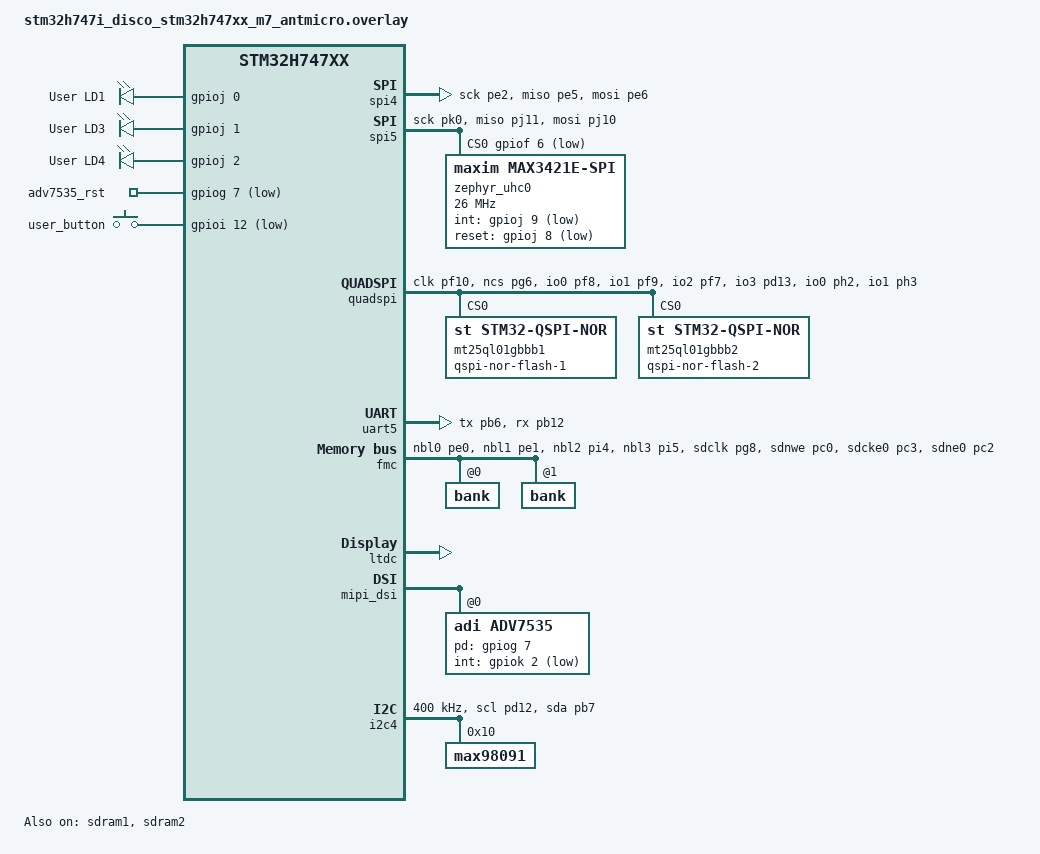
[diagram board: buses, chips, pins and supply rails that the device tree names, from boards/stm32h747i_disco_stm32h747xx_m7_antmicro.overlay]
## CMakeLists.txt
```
# SPDX-License-Identifier: Apache-2.0

cmake_minimum_required(VERSION 3.20.0)

find_package(Zephyr REQUIRED HINTS $ENV{ZEPHYR_BASE})
project(dsi-hdmi-adv7535)

target_sources(app PRIVATE src/main.c)
```

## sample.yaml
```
# TODO: Write this
sample:
  name: I2C custom target sample
tests:
  sample.drivers.i2c.custom_target:
    tags: i2c_target
    platform_allow:
      - lpcxpresso55s69/lpc55s69/cpu0
    harness: TBD
```

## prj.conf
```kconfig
CONFIG_I2C=y
CONFIG_I2C_TARGET=y

CONFIG_ASSERT=y

# CONFIG_SHELL=y
# CONFIG_I2C_SHELL=y

CONFIG_LOG=y
CONFIG_LOG_RUNTIME_DEFAULT_LEVEL=4
CONFIG_LOG_MODE_IMMEDIATE=y
CONFIG_LOG_BACKEND_UART=y

CONFIG_FAULT_DUMP=2

CONFIG_MIPI_DSI=y

CONFIG_ADI_ADV7535=y
CONFIG_NT35510=n

CONFIG_DISPLAY=y
CONFIG_DISPLAY_LOG_LEVEL_DBG=y

# CONFIG_MIPI_DSI_LOG_LEVEL_DBG=y

CONFIG_MEMC=y
CONFIG_STM32_LTDC_RGB888=y
```

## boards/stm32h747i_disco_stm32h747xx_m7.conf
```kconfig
CONFIG_POSIX_API=y
CONFIG_POSIX_DEVICE_IO=y
CONFIG_POSIX_FD_MGMT=y
CONFIG_ZVFS_OPEN_MAX=16
CONFIG_FILE_SYSTEM_EXT2=y
CONFIG_DISK_ACCESS=y
CONFIG_MEMC=y
CONFIG_I2C=y
CONFIG_I2C_STM32=y
CONFIG_GPIO=y
CONFIG_GPIO_STM32=y
CONFIG_SPI=y
# CONFIG_FLASH_STM32_QSPI=y
# CONFIG_FLASH=y
```

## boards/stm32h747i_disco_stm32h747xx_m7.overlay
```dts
#include <zephyr/dt-bindings/display/panel.h>
#include <zephyr/dt-bindings/gpio/gpio.h>
#include <zephyr/dt-bindings/i2c/i2c.h>
#include <zephyr/dt-bindings/memory-attr/memory-attr-arm.h>
#include <zephyr/dt-bindings/mipi_dsi/mipi_dsi.h>

/ {
	chosen {
		zephyr,display = &ltdc;
	};
};

&ltdc {
	status = "okay";
	ext-sdram = <&sdram2>;
	width = <800>;
	height = <480>;
	def-back-color-red = <0>;
	def-back-color-green = <0>;
	def-back-color-blue = <0>;
	/* pixel-format = <PANEL_PIXEL_FORMAT_RGB_565>; */
	pixel-format = <PANEL_PIXEL_FORMAT_RGB_888>;

	/* frida, nt35510 */
	display-timings {
		compatible = "zephyr,panel-timing";
		hsync-active = <0>;
		vsync-active = <0>;
		de-active = <0>;
		pixelclk-active = <0>;
		hsync-len = <2>;
		vsync-len = <120>;
		hback-porch = <34>;
		vback-porch = <150>;
		hfront-porch = <34>;
		vfront-porch = <150>;
	};
};

/* ltdc uses pll3_r as pixel clock */
&pll3 {
	status = "okay";
	clocks = <&clk_hse>;
	div-m = <5>;
	mul-n = <132>;
	div-p = <2>;
	div-q = <2>;
	div-r = <24>; /* 27.5 MHz */
};

&mipi_dsi {
	status = "okay";

	/* DSI HOST dedicated PLL
	 * F_VCO = CLK_IN / pll-idf * 2 * pll-ndiv
	 * PHI = F_VCO / 2 / (1 << pll-odf) = lane_byte_clk
	 *	   = 25 MHz / 5 * 2 * 100 / 2 / (1<<0) / 8 = 62.5 MHz
	 */
	pll-ndiv = <100>;
	pll-idf = <5>;
	pll-odf = <0>;

	vs-active-high;
	hs-active-high;
	de-active-high;

	loosely-packed;
	largest-packet-size = <64>;
	bta-ack-disable;
	test-pattern = <1>;
	nt35510: nt35510@0 {
		status = "okay";
		compatible = "frida,nt35510";
		reg = <0x0>;
		height = <800>;
		width = <480>;
		reset-gpios = <&dsi_lcd_qsh_030 57 GPIO_ACTIVE_HIGH>;
		bl-gpios = <&dsi_lcd_qsh_030 53 GPIO_ACTIVE_HIGH>;
		data-lanes = <2>;
		pixel-format = <MIPI_DSI_PIXFMT_RGB565>;
		rotation = <90>;
	};
};

&i2c4 {
	pinctrl-0 = <&i2c4_scl_pd12 &i2c4_sda_pd13>;
	pinctrl-names = "default";
	clock-frequency = <I2C_BITRATE_FAST>;
	status = "okay";

	adv7535: adv7535@39 {
		reg = <0x39>;
		compatible = "adi,adv7535";
		mipi-dsi = <&mipi_dsi>;
		dsi-channel = <2>;
		data-lanes = <2>;
		pixel-format = <MIPI_DSI_PIXFMT_RGB888>;
		pd-gpios = <&gpiog 3 GPIO_ACTIVE_HIGH>;
		status = "okay";
	};
};
```

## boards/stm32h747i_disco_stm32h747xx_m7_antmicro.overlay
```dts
#include <zephyr/dt-bindings/display/panel.h>
#include <zephyr/dt-bindings/gpio/gpio.h>
#include <zephyr/dt-bindings/i2c/i2c.h>
#include <zephyr/dt-bindings/memory-attr/memory-attr-arm.h>
#include <zephyr/dt-bindings/mipi_dsi/mipi_dsi.h>

/ {
	chosen {
		zephyr,display = &ltdc;
		zephyr,console = &uart5;
		zephyr,shell-uart = &uart5;
		zephyr,flash-controller = &mt25ql01gbbb1;
	};
	aliases {
		led0 = &green_led;
		led1 = &red_led;
		led2 = &blue_led;
		sw0 = &user_button;
	};

	leds {
		compatible = "gpio-leds";

		green_led: led_0 {
			gpios = <&gpioj 0 GPIO_ACTIVE_HIGH>;
			label = "User LD1";
			status = "okay";
		};

		red_led: led_1 {
			gpios = <&gpioj 1 GPIO_ACTIVE_HIGH>;
			label = "User LD3";
			status = "okay";
		};

		blue_led: led_2 {
			gpios = <&gpioj 2 GPIO_ACTIVE_HIGH>;
			label = "User LD4";
			status = "okay";
		};

		//Temp
		adv7535_rst: adv7535_rst {
			gpios = <&gpiog 7 GPIO_ACTIVE_LOW>;
			status = "okay";
		};
	};

	gpio_keys {
		compatible = "gpio-keys";

		user_button: button {
			label = "user_button";
			gpios = <&gpioi 12 (GPIO_ACTIVE_LOW | GPIO_PULL_UP)>;
			status = "okay";
		};
	};

	sdram1: sdram@c0000000 {
		status = "okay";
		compatible = "zephyr,memory-region", "mmio-sram";
		device_type = "memory";
		reg = <0xc0000000 DT_SIZE_M(128)>;
		zephyr,memory-region = "SDRAM1";

		/* Frame buffer memory cache will cause screen flickering. */
		zephyr,memory-attr = <( DT_MEM_ARM(ATTR_MPU_RAM_NOCACHE) )>;
	};
	sdram2: sdram@d0000000 {
		status = "okay";
		compatible = "zephyr,memory-region", "mmio-sram";
		device_type = "memory";
		reg = <0xd0000000 DT_SIZE_M(128)>;
		zephyr,memory-region = "SDRAM2";

		/* Frame buffer memory cache will cause screen flickering. */
		zephyr,memory-attr = <( DT_MEM_ARM(ATTR_MPU_RAM_NOCACHE) )>;
	};
};

&pwr {
	power-supply = "ldo";
};

&pinctrl {
	spi4_sck_pe2: spi4_sck_pe2 {
		pinmux = <STM32_PINMUX('E', 2, AF5)>;
	};

	spi4_miso_pe5: spi4_miso_pe5 {
		pinmux = <STM32_PINMUX('E', 5, AF5)>;
	};

	spi4_mosi_pe6: spi4_mosi_pe6 {
		pinmux = <STM32_PINMUX('E', 6, AF5)>;
	};
	spi5_sck_pk0: spi5_sck_pk0 {
		pinmux = <STM32_PINMUX('K', 0, AF5)>;
	};

	spi5_miso_pj11: spi5_miso_pj11 {
		pinmux = <STM32_PINMUX('J', 11, AF5)>;
	};

	spi5_mosi_pj10: spi5_mosi_pj10{
		pinmux = <STM32_PINMUX('J',10, AF5)>;
	};
};

&spi4 {
	status = "okay";
	pinctrl-0 = <&spi4_sck_pe2 &spi4_miso_pe5 &spi4_mosi_pe6>;
	pinctrl-names = "default";
	cs-gpios = <&gpioe 4 GPIO_ACTIVE_LOW>;

	/*
	zephyr_uhc0: max3421e@0 {
		compatible = "maxim,max3421e-spi";
		spi-max-frequency = <26000000>;
		int-gpios = <&gpioe 3 GPIO_ACTIVE_LOW>;
		reset-gpios = <&gpioc 13 GPIO_ACTIVE_LOW>;
		status = "okay";
		reg = <0>;
	};
	*/
};

&spi5 {
	status = "okay";
	pinctrl-0 = <&spi5_sck_pk0 &spi5_miso_pj11 &spi5_mosi_pj10>;
	pinctrl-names = "default";
	cs-gpios = <&gpiof 6 GPIO_ACTIVE_LOW>;

	zephyr_uhc0: max3421e@0 {
		compatible = "maxim,max3421e-spi";
		spi-max-frequency = <26000000>;
		int-gpios = <&gpioj 9 GPIO_ACTIVE_LOW>;
		reset-gpios = <&gpioj 8 GPIO_ACTIVE_LOW>;
		status = "okay";
		reg = <0>;
	};
};

&quadspi {
	pinctrl-0 = <&quadspi_clk_pf10 &quadspi_bk1_ncs_pg6
				 &quadspi_bk1_io0_pf8 &quadspi_bk1_io1_pf9
				 &quadspi_bk1_io2_pf7 &quadspi_bk1_io3_pd13
				 &quadspi_bk2_io0_ph2 &quadspi_bk2_io1_ph3
				 &quadspi_bk2_io2_pg9 &quadspi_bk2_io3_pg14>;
	/delete-node/ mt25ql512ab1;
	/delete-node/ mt25ql512ab2;

	mt25ql01gbbb1: qspi-nor-flash-1@0 {
		compatible = "st,stm32-qspi-nor";
		reg = <0>;
		size = <DT_SIZE_G(1)>; /* 1 Gbits */
		qspi-max-frequency = <72000000>;
		cs-high-time = <4>; /* >= 50 ns */
		spi-bus-width = <4>;
		reset-cmd;
		status = "okay";
	};

	mt25ql01gbbb2: qspi-nor-flash-2@0 {
		compatible = "st,stm32-qspi-nor";
		reg = <0>;
		size = <DT_SIZE_G(1)>; /* 1 Gbits */
		qspi-max-frequency = <72000000>;
		status = "okay";
	};
};

&uart5 {
	status = "okay";
	pinctrl-0 = <&uart5_tx_pb6 &uart5_rx_pb12>;
	pinctrl-names = "default";
};

&fmc {

	status = "okay";
	pinctrl-0 = <&fmc_nbl0_pe0 &fmc_nbl1_pe1 &fmc_nbl2_pi4 &fmc_nbl3_pi5
			 &fmc_sdclk_pg8 &fmc_sdnwe_pc0 &fmc_sdcke0_pc3 &fmc_sdne0_pc2
			 &fmc_sdcke1_ph7 &fmc_sdne1_ph6 &fmc_sdnras_pf11 &fmc_sdncas_pg15
			 &fmc_a0_pf0 &fmc_a1_pf1 &fmc_a2_pf2 &fmc_a3_pf3 &fmc_a4_pf4
			 &fmc_a5_pf5 &fmc_a6_pf12 &fmc_a7_pf13 &fmc_a8_pf14
			 &fmc_a9_pf15 &fmc_a10_pg0 &fmc_a11_pg1 &fmc_a12_pg2
			 &fmc_a14_pg4 &fmc_a15_pg5 &fmc_d0_pd14 &fmc_d1_pd15
			 &fmc_d2_pd0 &fmc_d3_pd1 &fmc_d4_pe7 &fmc_d5_pe8 &fmc_d6_pe9
			 &fmc_d7_pe10 &fmc_d8_pe11 &fmc_d9_pe12 &fmc_d10_pe13
			 &fmc_d11_pe14 &fmc_d12_pe15 &fmc_d13_pd8 &fmc_d14_pd9
			 &fmc_d15_pd10 &fmc_d16_ph8 &fmc_d17_ph9 &fmc_d18_ph10
			 &fmc_d19_ph11 &fmc_d20_ph12 &fmc_d21_ph13 &fmc_d22_ph14
			 &fmc_d23_ph15 &fmc_d24_pi0 &fmc_d25_pi1 &fmc_d26_pi2
			 &fmc_d27_pi3 &fmc_d28_pi6 &fmc_d29_pi7 &fmc_d30_pi9
			 &fmc_d31_pi10>;
	pinctrl-names = "default";

	sdram {
		status = "okay";
		power-up-delay = <100>;
		num-auto-refresh = <8>;

		mode-register = <0x230>;

		refresh-rate = <603>;

		bank@0 {
			status = "okay";
			reg = <0>;

			st,sdram-control = <
				STM32_FMC_SDRAM_NC_10
				STM32_FMC_SDRAM_NR_13
				STM32_FMC_SDRAM_MWID_32
				STM32_FMC_SDRAM_NB_4
				STM32_FMC_SDRAM_CAS_3
				STM32_FMC_SDRAM_SDCLK_PERIOD_2
				STM32_FMC_SDRAM_RBURST_ENABLE
				STM32_FMC_SDRAM_RPIPE_1
			>;

			st,sdram-timing = <2 7 5 7 2 3 3>;
		};

		bank@1 {
			status = "okay";
			reg = <1>;

			st,sdram-control = <
				STM32_FMC_SDRAM_NC_10
				STM32_FMC_SDRAM_NR_13
				STM32_FMC_SDRAM_MWID_32
				STM32_FMC_SDRAM_NB_4
				STM32_FMC_SDRAM_CAS_3
				STM32_FMC_SDRAM_SDCLK_PERIOD_2
				STM32_FMC_SDRAM_RBURST_ENABLE
				STM32_FMC_SDRAM_RPIPE_1
			>;

			st,sdram-timing = <2 7 5 7 2 3 3>;
		};
	};
};

&ltdc {
	status = "okay";
	ext-sdram = <&sdram2>;
	width = <640>;
	height = <480>;
	def-back-color-red = <0>;
	def-back-color-green = <0>;
	def-back-color-blue = <0>;
	/* pixel-format = <PANEL_PIXEL_FORMAT_RGB_565>; */
	pixel-format = <PANEL_PIXEL_FORMAT_RGB_888>;

	/* frida, nt35510 */
	display-timings {
		compatible = "zephyr,panel-timing";
		hsync-active = <0>;
		vsync-active = <0>;
		de-active = <0>;
		pixelclk-active = <0>;
		hsync-len = <96>;
		vsync-len = <2>;
		hback-porch = <48>;
		vback-porch = <33>;
		hfront-porch = <16>;
		vfront-porch = <10>;
	};
};

/* ltdc uses pll3_r as pixel clock */
&pll3 {
	status = "okay";
	clocks = <&clk_hse>;

	div-m = <5>;
	mul-n = <120>;
	div-r = <24>;
};

&mipi_dsi {
	status = "okay";

	/delete-property/ non-continuous;

	/* DSI HOST dedicated PLL
	 * F_VCO = CLK_IN / pll-idf * 2 * pll-ndiv
	 * PHI = F_VCO / 2 / (1 << pll-odf) = lane_byte_clk
	 *	   = 25 MHz / 5 * 2 * 100 / 2 / (1<<0) / 8 = 62.5 MHz
	 */
	pll-ndiv = <60>;
	pll-idf = <5>;
	pll-odf = <0>;

	/* phy-timings = <20 20 10 10 0 0>; */
	/* phy-timings = <20 20 10 10 0 0>; */

	/* vs-active-high; */
	/* hs-active-high; */
	de-active-high;

	//loosely-packed;

	largest-packet-size = <64>;
	bta-ack-disable;
	/* test-pattern = <1>; */
	adv7535: adv7535@0 {
		reg = <0>;
		compatible = "adi,adv7535";
		data-lanes = <2>;
		i2c = <&i2c4>;
		i2c-addr = <0x39>;
		pixel-format = <MIPI_DSI_PIXFMT_RGB888>;
		pd-gpios = <&gpiog 7 GPIO_ACTIVE_HIGH>;
		int-gpios = <&gpiok 2 GPIO_ACTIVE_LOW>;
		status = "okay";

		hactive = <640>;
		hsync = <96>;
		hfp = <16>;
		hbp = <48>;
		vactive = <480>;
		vsync = <2>;
		vfp = <10>;
		vbp = <33>;
	};
};

&i2c4 {
	pinctrl-0 = <&i2c4_scl_pd12 &i2c4_sda_pb7>;
	pinctrl-names = "default";
	clock-frequency = <I2C_BITRATE_FAST>;
	status = "okay";

	max98091: max98091@10 {
		reg = <0x10>;
		//compatible = "maxim,max98091";
		//mclk-frequency = <13000000>;
		status = "okay";
	};
};
```

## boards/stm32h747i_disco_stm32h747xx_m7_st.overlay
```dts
#include <zephyr/dt-bindings/display/panel.h>
#include <zephyr/dt-bindings/gpio/gpio.h>
#include <zephyr/dt-bindings/i2c/i2c.h>
#include <zephyr/dt-bindings/memory-attr/memory-attr-arm.h>
#include <zephyr/dt-bindings/mipi_dsi/mipi_dsi.h>

/ {
	chosen {
		zephyr,display = &ltdc;
	};
};

&ltdc {
	status = "okay";
	ext-sdram = <&sdram2>;
	width = <640>;
	height = <480>;
	def-back-color-red = <0>;
	def-back-color-green = <0>;
	def-back-color-blue = <0>;
	/* pixel-format = <PANEL_PIXEL_FORMAT_RGB_565>; */
	pixel-format = <PANEL_PIXEL_FORMAT_RGB_888>;

	/* frida, nt35510 */
	display-timings {
		compatible = "zephyr,panel-timing";
		hsync-active = <0>;
		vsync-active = <0>;
		/* The STM32 DSI wrapper requires LTDC DE polarity opposite to DSI DE. */
		de-active = <0>;
		pixelclk-active = <0>;
		hsync-len = <96>;
		vsync-len = <2>;
		hback-porch = <48>;
		vback-porch = <33>;
		hfront-porch = <16>;
		vfront-porch = <10>;
	};
};

/* ltdc uses pll3_r as pixel clock */
&pll3 {
	status = "okay";
	clocks = <&clk_hse>;

	div-m = <5>;
	mul-n = <120>;
	div-r = <24>;
};

&mipi_dsi {
	status = "okay";


	/delete-property/ non-continuous;

	/* DSI HOST dedicated PLL
	 * F_VCO = CLK_IN / pll-idf * 2 * pll-ndiv
	 * PHI = F_VCO / 2 / (1 << pll-odf) = lane_byte_clk
	 *	   = 25 MHz / 5 * 2 * 100 / 2 / (1<<0) / 8 = 62.5 MHz
	 */
	pll-ndiv = <60>;
	pll-idf = <5>;
	pll-odf = <0>;

	/* phy-timings = <20 20 10 10 0 0>; */

	/* vs-active-high; */
	/* hs-active-high; */
	de-active-high;

	//loosely-packed;
	largest-packet-size = <64>;
	bta-ack-disable;
	/* test-pattern = <1>; */

	adv7535: adv7535@0 {
		reg = <0>;
		compatible = "adi,adv7535";
		i2c = <&i2c4>;
		i2c-addr = <0x39>;
		data-lanes = <2>;
		pixel-format = <MIPI_DSI_PIXFMT_RGB888>;
		pd-gpios = <&gpiog 3 GPIO_ACTIVE_HIGH>;
		int-gpios = <&gpiok 7 GPIO_ACTIVE_LOW>;
		status = "okay";

		hactive = <640>;
		hsync = <96>;
		hfp = <16>;
		hbp = <48>;
		vactive = <480>;
		vsync = <2>;
		vfp = <10>;
		vbp = <33>;
	};
};

&i2c4 {
	pinctrl-0 = <&i2c4_scl_pd12 &i2c4_sda_pd13>;
	pinctrl-names = "default";
	clock-frequency = <I2C_BITRATE_FAST>;
	status = "okay";
};
```

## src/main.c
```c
/*
 * Copyright (c) 2024 Open Pixel Systems
 *
 * SPDX-License-Identifier: Apache-2.0
 */

#include <errno.h>
#include <string.h>

#include <zephyr/device.h>
#include <zephyr/devicetree.h>
#include <zephyr/drivers/display.h>
#include <zephyr/kernel.h>
#include <zephyr/logging/log.h>

LOG_MODULE_REGISTER(main, LOG_LEVEL_DBG);

#define DISPLAY_NODE   DT_CHOSEN(zephyr_display)
#define DISPLAY_WIDTH  DT_PROP(DISPLAY_NODE, width)
#define DISPLAY_HEIGHT DT_PROP(DISPLAY_NODE, height)
#define DSI_BASE       DT_REG_ADDR(DT_NODELABEL(mipi_dsi))
#define LTDC_BASE      DT_REG_ADDR(DT_NODELABEL(ltdc))
#define RGB888_BYTES_PER_PIXEL 3U
#define TEST_COLOR_COUNT 8U

static const struct device *const display = DEVICE_DT_GET(DISPLAY_NODE);
static uint8_t line_buffer[DISPLAY_WIDTH * RGB888_BYTES_PER_PIXEL];

/* STM32 LTDC RGB888 framebuffer byte order: B, G, R. */
static const uint8_t test_colors[TEST_COLOR_COUNT][RGB888_BYTES_PER_PIXEL] = {
	{ 0xff, 0xff, 0xff }, /* source x   0- 79: white */
	{ 0x00, 0xff, 0xff }, /* source x  80-159: yellow */
	{ 0xff, 0xff, 0x00 }, /* source x 160-239: cyan */
	{ 0x00, 0xff, 0x00 }, /* source x 240-319: green */
	{ 0xff, 0x00, 0xff }, /* source x 320-399: magenta */
	{ 0x00, 0x00, 0xff }, /* source x 400-479: red */
	{ 0xff, 0x00, 0x00 }, /* source x 480-559: blue */
	{ 0x80, 0x80, 0x80 }, /* source x 560-639: gray */
};

int main(void)
{
	LOG_DBG("Test 1");
	struct display_buffer_descriptor descriptor = {
		.buf_size = sizeof(line_buffer),
		.width = DISPLAY_WIDTH,
		.height = 1,
		.pitch = DISPLAY_WIDTH,
		.frame_incomplete = false,
	};
	struct display_capabilities capabilities;
	int ret;

	if (!device_is_ready(display)) {
		LOG_ERR("Display device %s is not ready", display->name);
		return 0;
	}

	LOG_DBG("Test 2");
	display_get_capabilities(display, &capabilities);
	if (capabilities.current_pixel_format != PIXEL_FORMAT_RGB_888) {
		LOG_ERR("Expected RGB888, got pixel format 0x%x",
			capabilities.current_pixel_format);
		return 0;
	}

	LOG_DBG("Test 3");
	memset(line_buffer, 0x00, sizeof(line_buffer));
	for (uint16_t y = 0; y < DISPLAY_HEIGHT; y++) {
		ret = display_write(display, 0, y, &descriptor, line_buffer);
		if (ret < 0) {
			LOG_ERR("Failed to clear display row %u: %d", y, ret);
			return 0;
		}
	}

	/* Draw eight identifiable 80-pixel sections on the single test row. */
	for (uint16_t x = 0; x < DISPLAY_WIDTH; x++) {
		uint8_t color = (x * TEST_COLOR_COUNT) / DISPLAY_WIDTH;
		uint32_t offset = x * RGB888_BYTES_PER_PIXEL;

		line_buffer[offset] = test_colors[color][0];
		line_buffer[offset + 1] = test_colors[color][1];
		line_buffer[offset + 2] = test_colors[color][2];
	}

	LOG_DBG("Test 4");
	ret = display_write(display, 0, DISPLAY_HEIGHT / 2, &descriptor, line_buffer);
	if (ret < 0) {
		LOG_ERR("Failed to draw horizontal line: %d", ret);
		return 0;
	}

	LOG_DBG("Test 6");
	LOG_INF("Drew line at y=%u", DISPLAY_HEIGHT / 2);

	return 0;
}
```
